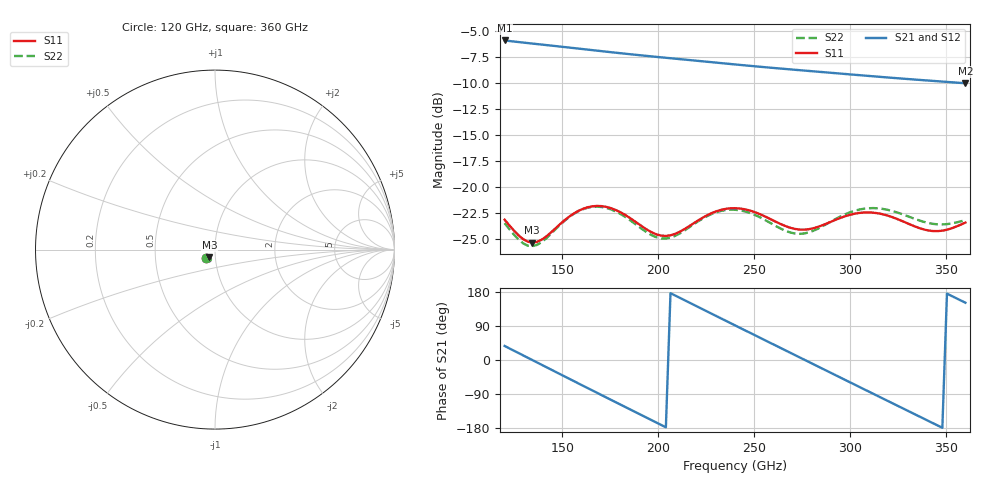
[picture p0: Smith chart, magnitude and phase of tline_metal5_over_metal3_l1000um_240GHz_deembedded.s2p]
! Created with skrf 2.2.0 (http://scikit-rf.org).
# GHz S DB R 50.0
! Port[1] = P1
! Port[2] = P2
!freq dBS11 angS11 dBS21 angS21 dBS12 angS12 dBS22 angS22
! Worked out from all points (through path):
!   101 points, 120 GHz to 360 GHz, reference 50 ohm
!   highest |S21| = -5.87 dB at 120 GHz (marker M1); lowest = -10.0 dB at 360 GHz (marker M2)
!   group delay of S21, straight-line fit = 7.01 ps
!   lowest |S11| = -25.4 dB at 134.4 GHz (marker M3), VSWR 1.11, Z = 46.8 - j4.13 ohm
!   |S11| at or under -10 dB: start of sweep to end of sweep
!   |S22| runs from -25.7 to -21.9 dB; largest |S21 - S12| = 5.2e-14
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120  -23.16 -136.3  -5.87 37.1  -5.87 37.1  -23.49 -135.4
134.4  -25.36 -125.3  -6.17 -0.0  -6.17 -0.0  -25.71 -122.3
146.4  -24.01 -115.1  -6.41 -30.9  -6.41 -30.9  -24.10 -112.0
160.8  -22.10 -121.9  -6.70 -67.8  -6.70 -67.8  -22.15 -119.9
170.4  -21.85 -130.8  -6.90 -92.3  -6.90 -92.3  -21.93 -129.3
180  -22.40 -138.6  -7.09 -116.8  -7.09 -116.8  -22.56 -137.2
192  -23.85 -141.5  -7.32 -147.2  -7.32 -147.2  -24.12 -139.8
201.6  -24.69 -136.1  -7.49 -171.5  -7.49 -171.5  -24.96 -133.6
211.2  -24.32 -128.9  -7.67 164.2  -7.67 164.2  -24.48 -126.0
223.2  -22.96 -127.8  -7.88 133.8  -7.88 133.8  -23.04 -125.5
240  -22.05 -137.6  -8.18 91.4  -8.18 91.4  -22.20 -136.0
249.6  -22.38 -143.5  -8.35 67.3  -8.35 67.3  -22.64 -141.9
261.6  -23.38 -146.3  -8.54 37.2  -8.54 37.2  -23.80 -143.8
271.2  -24.05 -143.2  -8.70 13.1  -8.70 13.1  -24.49 -139.0
280.8  -23.98 -138.2  -8.84 -11.0  -8.84 -11.0  -24.22 -132.5
290.4  -23.32 -136.1  -8.99 -35.1  -8.99 -35.1  -23.29 -130.2
302.4  -22.57 -139.1  -9.18 -65.1  -9.18 -65.1  -22.29 -133.8
312  -22.48 -143.7  -9.32 -89.1  -9.32 -89.1  -22.03 -139.1
321.6  -22.89 -147.5  -9.47 -113.1  -9.47 -113.1  -22.30 -143.8
340.8  -24.20 -144.5  -9.74 -161.0  -9.74 -161.0  -23.48 -144.5
350.4  -24.12 -139.0  -9.87 175.1  -9.87 175.1  -23.58 -140.9
360  -23.43 -135.8  -10.00 151.2  -10.00 151.2  -23.19 -138.6
